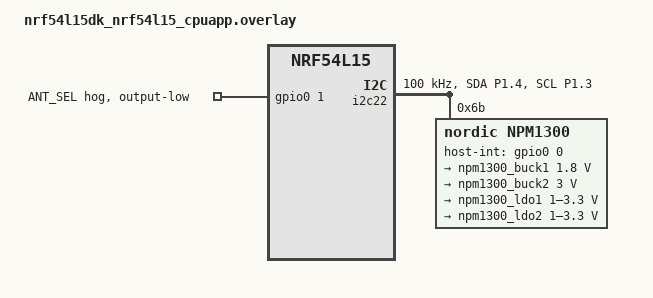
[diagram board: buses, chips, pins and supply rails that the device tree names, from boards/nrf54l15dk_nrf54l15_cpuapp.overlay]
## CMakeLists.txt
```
# SPDX-License-Identifier: Apache-2.0
cmake_minimum_required(VERSION 3.20.0)

find_package(Zephyr REQUIRED HINTS $ENV{ZEPHYR_BASE})
project(nordic_solar_01_led_blinky)

target_sources(app PRIVATE src/main.c)
```

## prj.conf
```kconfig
# Nordic_Solar — Stage 1: LED blinky (nPM1300 LED0)

# nPM1300 core: MFD + I2C + LED driver
CONFIG_I2C=y
CONFIG_MFD=y
CONFIG_REGULATOR=y
CONFIG_LED=y
CONFIG_LED_NPM13XX=y
CONFIG_GPIO=y

# Console / logging over RTT (no UART is broken out on this board)
CONFIG_LOG=y
CONFIG_USE_SEGGER_RTT=y
CONFIG_LOG_BACKEND_RTT=y
CONFIG_LOG_BACKEND_UART=n
CONFIG_SERIAL=n

# No 32.768 kHz crystal on this board (DK default is LFXO).
CONFIG_CLOCK_CONTROL_NRF_K32SRC_RC=y
CONFIG_NRF_GRTC_TIMER_SOURCE_LFLPRC=y
```

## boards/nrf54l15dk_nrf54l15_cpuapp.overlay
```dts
/*
 * Nordic_Solar — shared devicetree overlay for the nRF54L15 + nPM1300 board (v2)
 * Target: nrf54l15dk/nrf54l15/cpuapp
 *
 * This describes the nPM1300 PMIC as it is wired on your v2 board:
 *   - I2C @ 0x6B, 3.0 V bus (VDDIO = BUCK2)
 *   - BUCK1 = 1.8 V (RF antenna switch only), BUCK2 = 3.0 V (SoC + logic)
 *   - Charger fed by USB-C + solar diode-OR'd into VBUS/CHG_IN
 *   - NTC pin faked with a fixed 10 kOhm resistor (~25 C), no real thermistor
 *   - Status LED on nPM1300 LED0 (host-controlled)
 *
 * The SAME overlay is used by all four bring-up apps. Copy it into each app's
 * boards/ directory (it is already placed there).
 *
 * I2C (nRF54L15 QFN): SCL = pin 4 / P1.03, SDA = pin 5 / P1.04.
 * P1.03 is NFC2 by default — UICR nfct-pins-as-gpios is required or SCL
 * never leaves the pad. uart20 is disabled (DK uses P1.04 as UART TX).
 */

&uicr {
	nfct-pins-as-gpios;
};

&nfct {
	status = "disabled";
};

&pinctrl {
	i2c_pmic_default: i2c_pmic_default {
		group1 {
			psels = <NRF_PSEL(TWIM_SDA, 1, 4)>,    /* P1.04, QFN pin 5 */
				<NRF_PSEL(TWIM_SCL, 1, 3)>;    /* P1.03, QFN pin 4 */
			bias-pull-up;
		};
	};

	i2c_pmic_sleep: i2c_pmic_sleep {
		group1 {
			psels = <NRF_PSEL(TWIM_SDA, 1, 4)>,
				<NRF_PSEL(TWIM_SCL, 1, 3)>;
			low-power-enable;
		};
	};
};

/* DK uart20 uses P1.04 (our SDA). uart30 uses P0.00 (our PMIC_INT). */
&uart20 {
	status = "disabled";
};

&uart30 {
	status = "disabled";
};

&spi22 {
	status = "disabled";
};

/*
 * FM8625H antenna switch (VDD = BUCK1 / VOUT1 = 1.8 V):
 *   VCTL low  -> ANT to RF1 -> chip antenna (2450AT18A100E)
 *   VCTL high -> ANT to RF2 -> ECT818000500 connector
 * ANT_SEL = P0.01 (QFN pin 24). Hold low for the onboard antenna.
 */
&gpio0 {
	ant_sel_hog {
		gpio-hog;
		gpios = <1 GPIO_ACTIVE_HIGH>;
		output-low;
		line-name = "ANT_SEL";
	};
};

/*
 * nRF54L15 DK board files enable the 32.768 kHz LFXO. This custom board
 * does not have that crystal, so GRTC init waits forever and main() never
 * runs. Use the internal LF RC instead.
 */
&lfxo {
	status = "disabled";
};

&i2c22 {
	status = "okay";
	pinctrl-0 = <&i2c_pmic_default>;
	pinctrl-1 = <&i2c_pmic_sleep>;
	pinctrl-names = "default", "sleep";
	clock-frequency = <I2C_BITRATE_STANDARD>;   /* 100 kHz; PMIC also supports 400 kHz */

	npm1300: pmic@6b {
		compatible = "nordic,npm1300";
		reg = <0x6b>;

		/* nPM1300 GPIO0 (pin 7) -> PMIC_INT -> nRF54L15 P0.00 (QFN pin 23). */
		host-int-gpios = <&gpio0 0 0>;
		pmic-int-pin   = <0>;

		npm1300_gpio: gpio-controller {
			compatible = "nordic,npm1300-gpio";
			gpio-controller;
			#gpio-cells = <2>;
			ngpios = <5>;
		};

		npm1300_regulators: regulators {
			compatible = "nordic,npm1300-regulator";

			/* BUCK1 = 1.8 V (RF antenna switch rail) — Config 1 sets this
			 * from the VSET resistors; declared here so it can be read back.
			 */
			npm1300_buck1: BUCK1 {
				regulator-min-microvolt = <1800000>;
				regulator-max-microvolt = <1800000>;
				regulator-boot-on;
			};

			/* BUCK2 = 3.0 V (VDDIO — powers the SoC; do NOT turn this off) */
			npm1300_buck2: BUCK2 {
				regulator-min-microvolt = <3000000>;
				regulator-max-microvolt = <3000000>;
				regulator-boot-on;
				regulator-always-on;
			};

			/* LDO1/LDO2 unused on this board */
			npm1300_ldo1: LDO1 {
				regulator-min-microvolt = <1000000>;
				regulator-max-microvolt = <3300000>;
			};
			npm1300_ldo2: LDO2 {
				regulator-min-microvolt = <1000000>;
				regulator-max-microvolt = <3300000>;
			};
		};

		npm1300_charger: charger {
			compatible = "nordic,npm1300-charger";

			/* --- LiPo charge profile (400 mAh cell) --- */
			term-microvolt = <4200000>;     /* 4.2 V CV termination */
			term-warm-microvolt = <4100000>;/* lower target when warm */
			current-microamp = <200000>;    /* 200 mA (~0.5C for 400 mAh) */
			term-current-percent = <10>;    /* stop at 10% of ICHG */

			/* --- Input current limit ---
			 * Default hardware limit is ~100 mA. Raise it so USB/solar can
			 * actually deliver charge current. 500 mA is safe for USB-C;
			 * for solar-only the SPV1040T just supplies what it can.
			 */
			vbus-limit-microamp = <500000>;

			/* --- Battery discharge current limit --- */
			dischg-limit-microamp = <1000000>;

			/* --- NTC / thermistor ---
			 * Your board fakes the NTC with a fixed 10k to GND (no real
			 * thermistor). A 10k/3380 config reads a static ~25 C, so
			 * charging never NTC-faults. WARNING: there is NO real battery
			 * temperature protection — see README before outdoor deployment.
			 */
			thermistor-ohms = <10000>;
			thermistor-beta = <3380>;

			/* Enable charging at boot. Comment out to leave the charger off
			 * and enable/observe behaviour purely from firmware.
			 */
			charging-enable;
		};

		/*
		 * nPM1300 LED driver. This registers ONE Zephyr LED device
		 * (nodelabel npm1300_leds); the three LEDs are addressed by index
		 * 0/1/2 through the LED API (e.g. led_on(dev, 0)). There are no
		 * child nodes.
		 *
		 * LED0 = board status LED (VSYS -> R14 -> nPM1300 pin 25).
		 * "host" so firmware turns it on only while actually charging
		 * (USB in). Unplug USB -> idle -> LED off, even if solar still
		 * ticks VBUS-present at ~4 V.
		 */
		npm1300_leds: leds {
			compatible = "nordic,npm1300-led";
			nordic,led0-mode = "host";
			nordic,led1-mode = "error";
			nordic,led2-mode = "host";
		};
	};
};
```

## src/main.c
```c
/*
 * Nordic_Solar — Stage 1: LED blinky (nPM1300 LED0)
 *
 * Wiring: VSYS -> R14 (560R) -> LED1 anode -> cathode -> nPM1300 pin 25 (LED0).
 * I2C: SCL P1.03 / SDA P1.04, 4.7k (R12/R13) to VDDIO, nPM1300 @ 0x6B.
 */

#include <zephyr/kernel.h>
#include <zephyr/device.h>
#include <zephyr/drivers/gpio.h>
#include <zephyr/drivers/i2c.h>
#include <zephyr/drivers/led.h>
#include <zephyr/logging/log.h>

#include <hal/nrf_twim.h>

LOG_MODULE_REGISTER(blinky, LOG_LEVEL_INF);

#define PMIC_LED_NODE   DT_NODELABEL(npm1300_leds)
#define PMIC_I2C_NODE   DT_NODELABEL(i2c22)
#define PMIC_I2C_ADDR   0x6B
#define STATUS_LED_IDX  0
#define BLINK_PERIOD_MS 1000
#define WIGGLE_MS       2000

static void probe_pmic(const struct device *i2c)
{
	uint8_t dummy = 0;
	int ret;

	if (!device_is_ready(i2c)) {
		LOG_ERR("i2c22 is not ready");
		return;
	}

	ret = i2c_write(i2c, &dummy, 0, PMIC_I2C_ADDR);
	if (ret == 0) {
		LOG_INF("nPM1300 ACKed at 0x%02x", PMIC_I2C_ADDR);
	} else {
		LOG_ERR("nPM1300 no ACK at 0x%02x (err %d)", PMIC_I2C_ADDR, ret);
	}
}

/*
 * Disconnect TWIM22 and drive the I2C pads as GPIO so a DMM on the *I2C*
 * side of R12 (SCL) / R13 (SDA) can see 3 V vs 0 V. Idle pull-up is 3 V
 * on both sides of those resistors — that is normal and does not prove
 * the SoC is toggling the net.
 */
static void pin_wiggle(void)
{
	const struct device *gpio1 = DEVICE_DT_GET(DT_NODELABEL(gpio1));

	if (!device_is_ready(gpio1)) {
		LOG_ERR("gpio1 not ready — cannot wiggle I2C pins");
		return;
	}

	nrf_twim_disable(NRF_TWIM22);
	nrf_twim_pins_set(NRF_TWIM22, 0xFFFFFFFF, 0xFFFFFFFF);

	gpio_pin_configure(gpio1, 3, GPIO_OUTPUT_HIGH); /* P1.03 SCL / R12 */
	gpio_pin_configure(gpio1, 4, GPIO_OUTPUT_HIGH); /* P1.04 SDA / R13 */

	LOG_INF("GPIO wiggle on I2C pads (2 s steps). Meter the I2C side of R12/R13:");
	LOG_INF("  R12 = SCL = P1.03");
	LOG_INF("  R13 = SDA = P1.04");

	while (1) {
		LOG_INF("both HIGH — R12 and R13 I2C side ~3 V");
		gpio_pin_set(gpio1, 3, 1);
		gpio_pin_set(gpio1, 4, 1);
		k_msleep(WIGGLE_MS);

		LOG_INF("SCL LOW  — R12 I2C side ~0 V, R13 stays ~3 V");
		gpio_pin_set(gpio1, 3, 0);
		gpio_pin_set(gpio1, 4, 1);
		k_msleep(WIGGLE_MS);

		LOG_INF("SDA LOW  — R13 I2C side ~0 V, R12 stays ~3 V");
		gpio_pin_set(gpio1, 3, 1);
		gpio_pin_set(gpio1, 4, 0);
		k_msleep(WIGGLE_MS);

		LOG_INF("both LOW — R12 and R13 I2C side ~0 V");
		gpio_pin_set(gpio1, 3, 0);
		gpio_pin_set(gpio1, 4, 0);
		k_msleep(WIGGLE_MS);
	}
}

int main(void)
{
	const struct device *leds = DEVICE_DT_GET(PMIC_LED_NODE);
	const struct device *i2c = DEVICE_DT_GET(PMIC_I2C_NODE);
	bool on = false;
	int ret;

	LOG_INF("Nordic_Solar bring-up — Stage 1: nPM1300 LED0 blinky");
	LOG_INF("i2c22 ready=%d  npm1300_leds ready=%d",
		device_is_ready(i2c), device_is_ready(leds));

	probe_pmic(i2c);

	if (!device_is_ready(leds)) {
		LOG_ERR("PMIC LED not ready — falling back to SCL/SDA GPIO wiggle");
		pin_wiggle();
		return -ENODEV;
	}

	LOG_INF("nPM1300 reached over I2C. Blinking LED0 at %d ms.", BLINK_PERIOD_MS);

	while (1) {
		on = !on;
		ret = on ? led_on(leds, STATUS_LED_IDX)
			 : led_off(leds, STATUS_LED_IDX);
		if (ret < 0) {
			LOG_ERR("led_%s failed (%d)", on ? "on" : "off", ret);
		} else {
			LOG_INF("LED0 %s", on ? "ON" : "off");
		}
		k_msleep(BLINK_PERIOD_MS / 2);
	}

	return 0;
}
```
